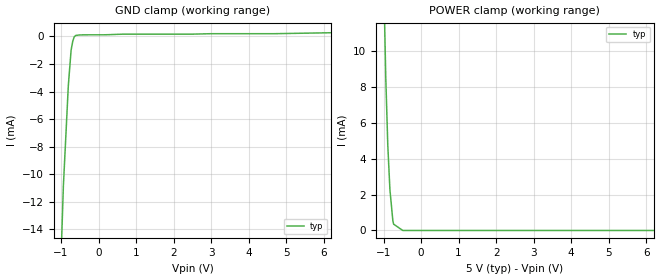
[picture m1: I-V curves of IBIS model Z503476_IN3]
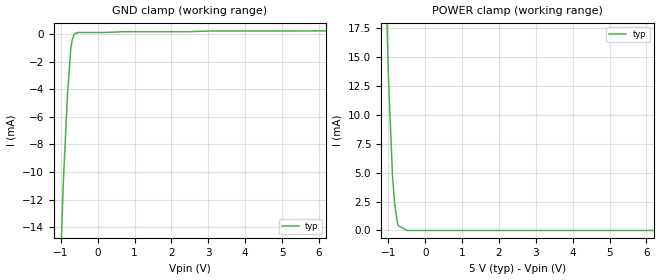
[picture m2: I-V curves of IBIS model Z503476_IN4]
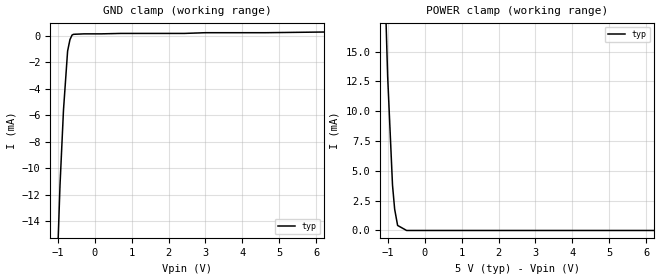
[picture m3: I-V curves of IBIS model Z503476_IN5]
| YOU ARE ONLY AUTHORIZED TO USE THIS SOFTWARE
| ACCORDING TO LICENSOR'S LICENSE RESTRICTIONS.
[IBIS Ver] 3.1
[File Name] mc14013bcl.ibs
[File Rev] 2.0
[Source] Measured and created by ICX Technology
[Date] Friday 7/14/00 9:07:51 AM
[Copyright]
| (C) COPYRIGHT 1993-2000
| MENTOR GRAPHICS CORPORATION
| ICX STANDARD LIBRARY, ICX PROJECT MODELING,
| ICX CUSTOM MODELING, ICX VENDOR MODEL
| ALL RIGHTS RESERVED.
| THE FOLLOWING ARE TRADEMARKS OR SERVICE MARKS OF
| MENTOR GRAPHICS CORPORATION:ICX (R), ICX STANDARD
| LIBRARY(R), ICX PROJECT MODELING(R), ICX CUSTOM
| MODELING(R), qualityIBIS(TM), MODELVIEWER(TM),
| AND MODELEDITOR(TM)
| ALL COPIES OF SOFTWARE, INCLUDING BUT NOT LIMITED TO
| ANY MODIFICATIONS, ENHANCEMENTS OR DERIVATIVE WORKS,
| MUST CONTAIN ALL MENTOR GRAPHICS CORPORATION'S
| NOTICES AND LEGENDS, INCLUDING THOSE EMBEDDED IN
| SOFTWARE AND THOSE AFFIXED TO SOFTWARE MEDIUM
| AND CONTAINER, AS RECEIVED FROM MENTOR GRAPHICS
| CORPORATION.
|  ZAP Model Builder 2.7
[Component] MC14013BCL
[Manufacturer] OnSemiconductor
[Package]
| variable   typ   min   max
R_pkg  .21ohms NA NA
L_pkg  4.543nH NA NA
C_pkg  1.8pF NA NA
[Pin] signal_name  model_name  R_pin  L_pin C_pin
1 QA Z503476_OUT1 .22 6.757n 2.434p
2 _QA Z503476_OUT2 .212 4.757n 1.941p
3 CA Z503476_IN3 .204 3.257n 1.448p
4 RA Z503476_IN4 .196 2.257n .955p
5 DA Z503476_IN5 .204 3.257n 1.448p
6 SA Z503476_IN4 .212 4.757n 1.941p
7 VSS POWER .22 6.757n 2.434p
8 SB Z503476_IN4 .22 6.757n 2.434p
9 DB Z503476_IN5 .212 4.757n 1.941p
10 RB Z503476_IN4 .204 3.257n 1.448p
11 CB Z503476_IN3 .196 2.257n .955p
12 _QB Z503476_OUT2 .204 3.257n 1.448p
13 QB Z503476_OUT1 .212 4.757n 1.941p
14 VDD POWER .22 6.757n 2.434p
| Models and submodels in the file (5): Z503476_IN3 (Input), Z503476_IN4 (Input), Z503476_IN5 (Input), Z503476_OUT1 (Output), Z503476_OUT2 (Output)
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| (C) COPYRIGHT 1993-2000
| MENTOR GRAPHICS CORPORATION
| ICX STANDARD LIBRARY, ICX PROJECT MODELING,
| ICX CUSTOM MODELING, ICX VENDOR MODEL
| ALL RIGHTS RESERVED.
| THE FOLLOWING ARE TRADEMARKS OR SERVICE MARKS OF
| MENTOR GRAPHICS CORPORATION:ICX (R), ICX STANDARD
| LIBRARY(R), ICX PROJECT MODELING(R), ICX CUSTOM
| MODELING(R), qualityIBIS(TM), MODELVIEWER(TM),
| AND MODELEDITOR(TM)
| ALL COPIES OF SOFTWARE, INCLUDING BUT NOT LIMITED TO
| ANY MODIFICATIONS, ENHANCEMENTS OR DERIVATIVE WORKS,
| MUST CONTAIN ALL MENTOR GRAPHICS CORPORATION'S
| NOTICES AND LEGENDS, INCLUDING THOSE EMBEDDED IN
| SOFTWARE AND THOSE AFFIXED TO SOFTWARE MEDIUM
| AND CONTAINER, AS RECEIVED FROM MENTOR GRAPHICS
| CORPORATION.
| Model Application Version 1.89 2/18/99.
[Model] Z503476_IN3
Model_type Input
Vinl = 1.500V
Vinh = 3.500V
C_comp 4.000pF NA NA
| variable typ   min   max
[Voltage Range] 5.000V NA NA
[GND Clamp Reference] 0.000V NA NA
[POWER Clamp Reference] 5.000V NA NA
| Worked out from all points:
|   GND clamp passes 1 mA (typ) near -0.73 V on its own axis
|   POWER clamp passes 1 mA (typ) near -0.77 V on its own axis
[GND Clamp]
-5V       -587.2mA   NA         NA
-1.122V   -26.3mA    NA         NA
-937.3mV  -10.85mA   NA         NA
-805.5mV  -3.559mA   NA         NA
-731.6mV  -992.1uA   NA         NA
-687.3mV  -339.8uA   NA         NA
-648mV    -27.9uA    NA         NA
-610mV    71.32uA    NA         NA
685.5mV   170.2uA    NA         NA
4.656V    200.1uA    NA         NA
10V       443.9uA    NA         NA
[POWER Clamp]
-5V       639.4mA    NA         NA
-1.191V   39.1mA     NA         NA
-1.035V   18mA       NA         NA
-941mV    8.579mA    NA         NA
-887mV    4.776mA    NA         NA
-830mV    2.281mA    NA         NA
-751mV    535.4uA    NA         NA
-731mV    352.2uA    NA         NA
-487.3mV  0A         NA         NA
10V       0A         NA         NA
| (C) COPYRIGHT 1993-2000
| MENTOR GRAPHICS CORPORATION
| ICX STANDARD LIBRARY, ICX PROJECT MODELING,
| ICX CUSTOM MODELING, ICX VENDOR MODEL
| ALL RIGHTS RESERVED.
| THE FOLLOWING ARE TRADEMARKS OR SERVICE MARKS OF
| MENTOR GRAPHICS CORPORATION:ICX (R), ICX STANDARD
| LIBRARY(R), ICX PROJECT MODELING(R), ICX CUSTOM
| MODELING(R), qualityIBIS(TM), MODELVIEWER(TM),
| AND MODELEDITOR(TM)
| ALL COPIES OF SOFTWARE, INCLUDING BUT NOT LIMITED TO
| ANY MODIFICATIONS, ENHANCEMENTS OR DERIVATIVE WORKS,
| MUST CONTAIN ALL MENTOR GRAPHICS CORPORATION'S
| NOTICES AND LEGENDS, INCLUDING THOSE EMBEDDED IN
| SOFTWARE AND THOSE AFFIXED TO SOFTWARE MEDIUM
| AND CONTAINER, AS RECEIVED FROM MENTOR GRAPHICS
| CORPORATION.
| Model Application Version 1.89 2/18/99.
[Model] Z503476_IN4
Model_type Input
Vinl = 1.500V
Vinh = 3.500V
C_comp 4.000pF NA NA
| variable typ   min   max
[Voltage Range] 5.000V NA NA
[GND Clamp Reference] 0.000V NA NA
[POWER Clamp Reference] 5.000V NA NA
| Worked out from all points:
|   GND clamp passes 1 mA (typ) near -0.73 V on its own axis
|   POWER clamp passes 1 mA (typ) near -0.77 V on its own axis
[GND Clamp]
-5V       -539.6mA   NA         NA
-1.123V   -26mA      NA         NA
-937.3mV  -10.95mA   NA         NA
-823.9mV  -4.498mA   NA         NA
-731mV    -1.038mA   NA         NA
-687.3mV  -373.5uA   NA         NA
-647.5mV  -69.29uA   NA         NA
-610.3mV  45uA       NA         NA
-532.2mV  106.9uA    NA         NA
3.038V    213.6uA    NA         NA
10V       255.9uA    NA         NA
[POWER Clamp]
-5V       598.1mA    NA         NA
-1.177V   34.91mA    NA         NA
-1V       13.31mA    NA         NA
-888mV    4.686mA    NA         NA
-830mV    2.286mA    NA         NA
-751mV    599.1uA    NA         NA
-732mV    409.6uA    NA         NA
-488mV    0A         NA         NA
10V       0A         NA         NA
| (C) COPYRIGHT 1993-2000
| MENTOR GRAPHICS CORPORATION
| ICX STANDARD LIBRARY, ICX PROJECT MODELING,
| ICX CUSTOM MODELING, ICX VENDOR MODEL
| ALL RIGHTS RESERVED.
| THE FOLLOWING ARE TRADEMARKS OR SERVICE MARKS OF
| MENTOR GRAPHICS CORPORATION:ICX (R), ICX STANDARD
| LIBRARY(R), ICX PROJECT MODELING(R), ICX CUSTOM
| MODELING(R), qualityIBIS(TM), MODELVIEWER(TM),
| AND MODELEDITOR(TM)
| ALL COPIES OF SOFTWARE, INCLUDING BUT NOT LIMITED TO
| ANY MODIFICATIONS, ENHANCEMENTS OR DERIVATIVE WORKS,
| MUST CONTAIN ALL MENTOR GRAPHICS CORPORATION'S
| NOTICES AND LEGENDS, INCLUDING THOSE EMBEDDED IN
| SOFTWARE AND THOSE AFFIXED TO SOFTWARE MEDIUM
| AND CONTAINER, AS RECEIVED FROM MENTOR GRAPHICS
| CORPORATION.
| Model Application Version 1.89 2/18/99.
[Model] Z503476_IN5
Model_type Input
Vinl = 1.500V
Vinh = 3.500V
C_comp 4.000pF NA NA
| variable typ   min   max
[Voltage Range] 5.000V NA NA
[GND Clamp Reference] 0.000V NA NA
[POWER Clamp Reference] 5.000V NA NA
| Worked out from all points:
|   GND clamp passes 1 mA (typ) near -0.72 V on its own axis
|   POWER clamp passes 1 mA (typ) near -0.76 V on its own axis
[GND Clamp]
-5V       -748.6mA   NA         NA
-1.027V   -18.66mA   NA         NA
-937.2mV  -11.32mA   NA         NA
-842.3mV  -5.604mA   NA         NA
-731mV    -1.163mA   NA         NA
-667.3mV  -299.8uA   NA         NA
-610.2mV  42.33uA    NA         NA
-571mV    96.16uA    NA         NA
10V       392.7uA    NA         NA
[POWER Clamp]
-5V       500.5mA    NA         NA
-1.18V    31.6mA     NA         NA
-1V       12.89mA    NA         NA
-869mV    3.803mA    NA         NA
-811mV    1.787mA    NA         NA
-731mV    422.1uA    NA         NA
-487.3mV  0A         NA         NA
10V       0A         NA         NA
